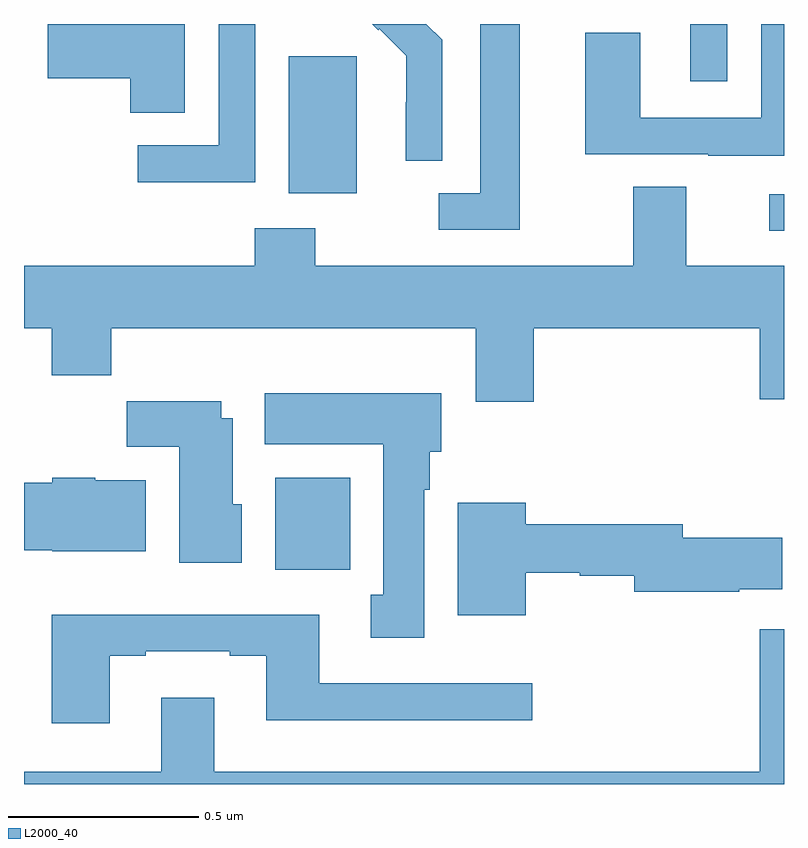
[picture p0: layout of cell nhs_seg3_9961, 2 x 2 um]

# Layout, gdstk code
import gdstk
lib = gdstk.Library(unit=1e-6, precision=1e-09)
def R(c, l, rs):  # rectangles x0, y0, x1, y1
    for r in rs: c.add(gdstk.rectangle(r[:2], r[2:], *l))
def P(c, l, *ps):  # polygons
    for p in ps: c.add(gdstk.Polygon(p, *l))
L2000_40 = (2000, 40)

nhs_seg3_9961 = lib.new_cell('nhs_seg3_9961')
R(nhs_seg3_9961, L2000_40, [(235.661,682.964,235.858,683.206), (236.961,683.856,237,683.952), (235.697,683.954,235.876,684.315), (236.753,684.249,236.85,684.4)])
P(nhs_seg3_9961, L2000_40, [(236.1,684.358),(236.058,684.4),(235.916,684.4),(235.932,684.384),(235.935,684.387),(236.006,684.317),(236.006,684.194),(236.004,684.194),(236.004,684.04),(236.1,684.04)],
  [(235.608,684.4),(235.512,684.4),(235.512,684.081),(235.299,684.081),(235.299,683.983),(235.608,683.983)],
  [(235.423,684.4),(235.062,684.4),(235.062,684.257),(235.28,684.257),(235.28,684.166),(235.423,684.166)],
  [(236.305,684.4),(236.201,684.4),(236.201,683.955),(236.091,683.955),(236.091,683.859),(236.305,683.859)],
  [(237,684.4),(236.94,684.4),(236.94,684.153),(236.622,684.153),(236.622,684.377),(236.477,684.377),(236.477,684.057),(236.801,684.057),(236.801,684.053),(237,684.053)],
  [(236.342,683.6),(236.936,683.6),(236.936,683.412),(237,683.412),(237,683.764),(236.743,683.764),(236.743,683.972),(236.603,683.972),(236.603,683.764),(235.767,683.764),(235.767,683.863),(235.607,683.863),(235.607,683.764),(235,683.764),(235,683.6),(235.073,683.6),(235.073,683.476),(235.229,683.476),(235.229,683.6),(236.189,683.6),(236.189,683.406),(236.342,683.406)],
  [(236.053,683.174),(236.068,683.174),(236.068,683.274),(236.098,683.274),(236.098,683.428),(235.634,683.428),(235.634,683.294),(235.946,683.294),(235.946,682.898),(235.913,682.898),(235.913,682.785),(236.053,682.785)],
  [(235.573,683.136),(235.549,683.136),(235.549,683.362),(235.519,683.362),(235.519,683.407),(235.27,683.407),(235.27,683.288),(235.409,683.288),(235.409,682.982),(235.573,682.982)],
  [(235.321,683.2),(235.188,683.2),(235.188,683.206),(235.074,683.206),(235.074,683.193),(235,683.193),(235,683.015),(235.074,683.015),(235.074,683.012),(235.321,683.012)],
  [(236.32,682.956),(236.463,682.956),(236.463,682.948),(236.606,682.948),(236.606,682.906),(236.882,682.906),(236.882,682.913),(236.995,682.913),(236.995,683.048),(236.734,683.048),(236.734,683.084),(236.32,683.084),(236.32,683.14),(236.141,683.14),(236.141,682.844),(236.32,682.844)],
  [(235.225,682.737),(235.321,682.737),(235.321,682.749),(235.541,682.749),(235.541,682.737),(235.637,682.737),(235.637,682.568),(236.338,682.568),(236.338,682.665),(235.777,682.665),(235.777,682.846),(235.073,682.846),(235.073,682.56),(235.225,682.56)],
  [(237,682.807),(236.936,682.807),(236.936,682.432),(235.501,682.432),(235.501,682.627),(235.361,682.627),(235.361,682.432),(235,682.432),(235,682.4),(237,682.4)])

lib.write_gds('nhs_seg3_9961.gds')
